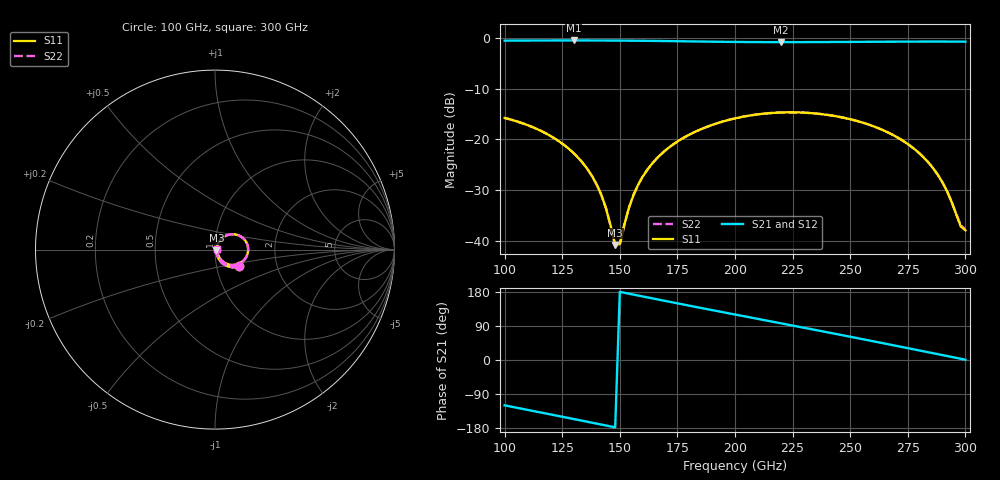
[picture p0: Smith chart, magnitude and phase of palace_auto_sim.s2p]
#  GHZ S DB R 50
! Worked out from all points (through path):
!   101 points, 100 GHz to 300 GHz, reference 50 ohm
!   highest |S21| = -0.49 dB at 130 GHz (marker M1); lowest = -0.8 dB at 220 GHz (marker M2)
!   group delay of S21, straight-line fit = 3.31 ps
!   lowest |S11| = -40.9 dB at 148 GHz (marker M3), VSWR 1.02, Z = 50.8 - j0.397 ohm
!   |S11| at or under -10 dB: start of sweep to end of sweep
!   |S22| runs from -41.1 to -14.7 dB; largest |S21 - S12| = 1.1e-14
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100  -15.78 -34.5  -0.52 -119.7  -0.52 -119.7  -15.78 -34.8
116  -18.39 -51.5  -0.50 -138.9  -0.50 -138.9  -18.39 -51.8
130  -22.74 -64.8  -0.49 -155.9  -0.49 -155.9  -22.74 -65.3
134  -24.70 -67.7  -0.49 -160.7  -0.49 -160.7  -24.70 -68.3
142  -30.99 -68.0  -0.50 -170.5  -0.50 -170.5  -31.01 -68.8
144  -33.60 -64.0  -0.50 -172.9  -0.50 -172.9  -33.63 -65.0
148  -40.87 -25.5  -0.51 -177.8  -0.51 -177.8  -41.09 -26.7
150  -40.66 22.3  -0.52 179.8  -0.52 179.8  -40.89 22.6
154  -33.45 58.3  -0.53 174.9  -0.53 174.9  -33.50 58.6
158  -28.94 63.4  -0.55 170.1  -0.55 170.1  -28.95 63.4
168  -22.90 59.0  -0.60 158.0  -0.60 158.0  -22.90 58.8
182  -18.67 46.1  -0.68 141.2  -0.68 141.2  -18.67 45.8
200  -15.87 27.3  -0.78 120.0  -0.78 120.0  -15.87 26.9
220  -14.71 4.9  -0.82 96.7  -0.82 96.7  -14.70 4.5
234  -14.87 -10.8  -0.81 80.3  -0.81 80.3  -14.86 -11.3
250  -16.03 -28.6  -0.77 61.4  -0.77 61.4  -16.03 -29.1
268  -19.01 -47.5  -0.73 39.7  -0.73 39.7  -19.00 -48.1
278  -21.97 -56.5  -0.71 27.6  -0.71 27.6  -21.95 -57.0
286  -25.72 -60.8  -0.71 17.9  -0.71 17.9  -25.69 -61.3
292  -30.23 -57.8  -0.71 10.5  -0.71 10.5  -30.18 -58.1
298  -37.20 -23.4  -0.72 3.2  -0.72 3.2  -37.00 -24.0
300  -37.96 6.5  -0.72 0.7  -0.72 0.7  -37.74 5.2
